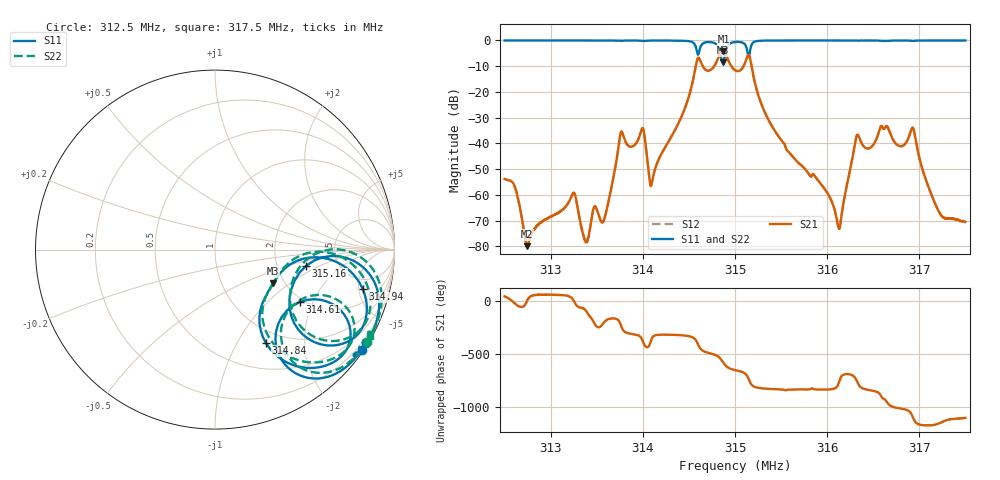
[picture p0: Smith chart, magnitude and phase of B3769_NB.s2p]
! Matrix data file written by TouchstoneData, EPCOS AG
! FILENAME: "B3769_SB.s2p"
! COMMENT: "16 Nov 2004 S11-NoP:1601;Caltype:FULL2PORT;P"
! INFO: nport=2, nfreq=1601
! DATE: "Wed Sep 19 16:04:49 2012"
! USER: "Wilfried Schott"
! port | pin | signal
!  1  |  2  |  IN
!  2  |  5  |  OUT
# MHZ S MA R 50
! freq  magS11 angS11  magS21 angS21  magS12 angS12  magS22 angS22
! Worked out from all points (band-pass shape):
!   1601 points, 312.5 MHz to 317.5 MHz, reference 50 ohm
!   highest |S21| = -4.26 dB at 314.88 MHz (marker M1); lowest = -79.9 dB at 312.74 MHz (marker M2)
!   |S21| within 3 dB of the highest: 314.8134 MHz to 314.9208 MHz (107.5 kHz wide, 0.0341 % of centre); 315.1236 MHz to 315.1654 MHz (41.85 kHz wide, 0.0133 % of centre) (the widest 2 of 3)
!   lowest |S11| = -8.6 dB at 314.87 MHz (marker M3), VSWR 2.19, Z = 87.2 - j38 ohm
!   |S11| at or under -10 dB: nowhere
!   |S22| runs from -8.5 to -0.1 dB; largest |S21 - S12| = 0.0036
!   S11 on the Smith chart (normalised r, x): 312.5 MHz: 0.06, -3.24; 314.61 MHz: 1.91, -1.61; 314.84 MHz: 0.83, -1.33; 314.94 MHz: 3.40, -5.53; 315.16 MHz: 2.94, -0.72; 317.5 MHz: 0.07, -3.46
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312.5  0.9892 -34.3  0.002042 46.7  0.002047 46.7  0.989 -31.3
312.7406  0.9904 -34.5  0.0001008 -1.1  0.000101 -6.2  0.9897 -31.5
313.2437  0.9895 -35.2  0.00108 15.3  0.001077 14.9  0.9884 -32.2
313.3344  0.9897 -35.3  0.0002292 -62.4  0.0002252 -63.4  0.9891 -32.3
313.5813  0.9892 -35.8  0.0003369 162.4  0.0003256 163.7  0.9884 -32.9
313.7688  0.9735 -36.0  0.01694 117.4  0.0169 117.1  0.974 -33.0
314.1687  0.987 -38.0  0.004737 43.1  0.004734 43.2  0.9867 -35.1
314.6062  0.5562 -31.6  0.4571 -61.0  0.4561 -61.3  0.5631 -28.7
314.8375  0.5928 -61.4  0.5542 -178.6  0.5548 -178.7  0.581 -58.4
314.8687  0.3735 -30.1  0.6088 145.9  0.608 145.8  0.3792 -24.5
314.875  0.3857 -19.8  0.6124 139.2  0.6115 139.0  0.3963 -15.0
314.9406  0.8528 -15.0  0.3623 85.5  0.3607 85.5  0.8602 -12.2
315  0.9237 -24.6  0.2628 69.0  0.262 69.1  0.9282 -21.8
315.1562  0.5161 -10.0  0.4986 -31.7  0.4968 -32.1  0.5069 -7.0
315.3687  0.987 -25.2  0.02725 -108.8  0.02714 -108.6  0.9863 -22.1
315.8344  0.9902 -29.9  0.002372 -103.1  0.002371 -102.9  0.9899 -26.9
316.1281  0.9906 -30.9  0.0002191 -45.7  0.0002198 -46.4  0.9902 -27.9
316.3219  0.9765 -31.4  0.01424 -35.3  0.01424 -35.5  0.9766 -28.4
316.6687  0.9775 -30.9  0.01841 104.1  0.01833 104.0  0.9778 -27.9
316.9312  0.9705 -31.7  0.02001 -19.2  0.01993 -19.4  0.9694 -28.8
317.2156  0.9894 -31.9  0.0004609 -74.5  0.0004654 -74.5  0.9891 -28.9
317.5  0.9894 -32.2  0.0002992 -23.4  0.000295 -23.3  0.9891 -29.2
